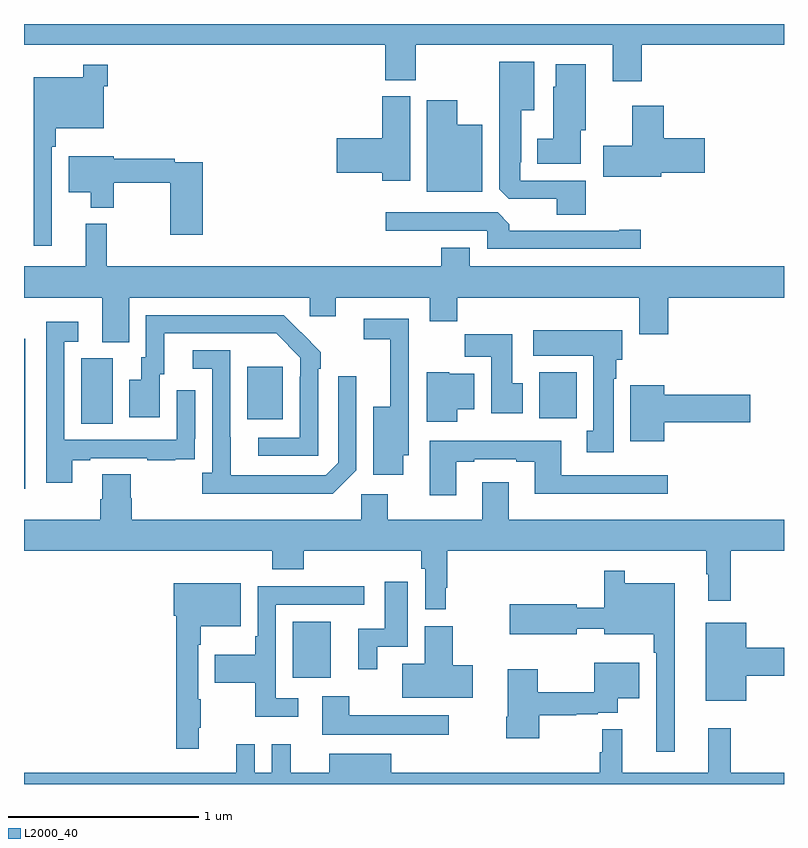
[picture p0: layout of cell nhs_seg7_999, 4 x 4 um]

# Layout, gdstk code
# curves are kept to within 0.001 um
import gdstk
lib = gdstk.Library(unit=1e-6, precision=1e-09)
def R(c, l, rs):  # rectangles x0, y0, x1, y1
    for r in rs: c.add(gdstk.rectangle(r[:2], r[2:], *l))
def P(c, l, *ps):  # polygons
    for p in ps: c.add(gdstk.Polygon(p, *l))
L2000_40 = (2000, 40)

nhs_seg7_999 = lib.new_cell('nhs_seg7_999')
R(nhs_seg7_999, L2000_40, [(184.415,1054.559,184.615,1054.855), (183,1055.553,183.007,1056.344), (183.302,1055.896,183.466,1056.24), (184.175,1055.921,184.363,1056.196), (185.711,1055.924,185.908,1056.166)])
P(nhs_seg7_999, L2000_40, [(183,1057.892),(184.901,1057.892),(184.901,1057.705),(185.061,1057.705),(185.061,1057.892),(186.098,1057.892),(186.098,1057.698),(186.251,1057.698),(186.251,1057.892),(187,1057.892),(187,1058),(183,1058)],
  [(185.957,1057.176),(185.613,1057.176),(185.613,1057.273),(185.617,1057.273),(185.617,1057.547),(185.686,1057.547),(185.686,1057.801),(185.501,1057.801),(185.501,1057.129),(185.55,1057.08),(185.804,1057.08),(185.804,1056.997),(185.957,1056.997)],
  [(185.929,1057.44),(185.956,1057.44),(185.956,1057.789),(185.798,1057.789),(185.798,1057.671),(185.786,1057.671),(185.786,1057.396),(185.702,1057.396),(185.702,1057.265),(185.929,1057.265)],
  [(183.147,1057.355),(183.167,1057.355),(183.167,1057.451),(183.42,1057.451),(183.42,1057.673),(183.44,1057.673),(183.44,1057.786),(183.312,1057.786),(183.312,1057.72),(183.05,1057.72),(183.05,1056.834),(183.147,1056.834)],
  [(185.032,1057.62),(184.886,1057.62),(184.886,1057.4),(184.647,1057.4),(184.647,1057.217),(184.886,1057.217),(184.886,1057.176),(185.032,1057.176)],
  [(185.413,1057.471),(185.281,1057.471),(185.281,1057.6),(185.12,1057.6),(185.12,1057.118),(185.413,1057.118)],
  [(186.355,1057.217),(186.583,1057.217),(186.583,1057.4),(186.368,1057.4),(186.368,1057.57),(186.2,1057.57),(186.2,1057.359),(186.048,1057.359),(186.048,1057.196),(186.355,1057.196)],
  [(183.941,1057.272),(183.794,1057.272),(183.794,1057.292),(183.472,1057.292),(183.472,1057.303),(183.236,1057.303),(183.236,1057.115),(183.35,1057.115),(183.35,1057.034),(183.472,1057.034),(183.472,1057.164),(183.77,1057.164),(183.77,1056.891),(183.941,1056.891)],
  [(186.247,1056.917),(186.134,1056.917),(186.134,1056.912),(185.555,1056.912),(185.555,1056.946),(185.493,1057.008),(184.905,1057.008),(184.905,1056.912),(185.439,1056.912),(185.439,1056.816),(186.247,1056.816)],
  [(185.347,1056.823),(185.195,1056.823),(185.195,1056.724),(183.436,1056.724),(183.436,1056.949),(183.326,1056.949),(183.326,1056.724),(183,1056.724),(183,1056.56),(183.413,1056.56),(183.413,1056.325),(183.553,1056.325),(183.553,1056.56),(184.503,1056.56),(184.503,1056.462),(184.642,1056.462),(184.642,1056.56),(185.135,1056.56),(185.135,1056.436),(185.279,1056.436),(185.279,1056.56),(186.239,1056.56),(186.239,1056.366),(186.392,1056.366),(186.392,1056.56),(187,1056.56),(187,1056.724),(185.347,1056.724)],
  [(184.548,1056.185),(184.563,1056.185),(184.563,1056.273),(184.366,1056.468),(183.642,1056.468),(183.642,1056.246),(183.617,1056.246),(183.617,1056.127),(183.554,1056.127),(183.554,1055.931),(183.715,1055.931),(183.715,1056.156),(183.739,1056.156),(183.739,1056.372),(184.327,1056.372),(184.455,1056.243),(184.455,1056.143),(184.452,1056.143),(184.452,1055.823),(184.233,1055.823),(184.233,1055.727),(184.548,1055.727)],
  [(184.996,1055.729),(185.025,1055.729),(185.025,1056.45),(184.788,1056.45),(184.788,1056.342),(184.928,1056.342),(184.928,1055.986),(184.838,1055.986),(184.838,1055.628),(184.996,1055.628)],
  [(183.253,1055.703),(183.349,1055.703),(183.349,1055.715),(183.649,1055.715),(183.649,1055.703),(183.797,1055.703),(183.797,1055.709),(183.899,1055.709),(183.899,1055.818),(183.9,1055.818),(183.9,1056.073),(183.804,1056.073),(183.804,1055.811),(183.213,1055.811),(183.213,1056.327),(183.286,1056.327),(183.286,1056.433),(183.117,1056.433),(183.117,1055.586),(183.253,1055.586)],
  [(186.103,1056.134),(186.118,1056.134),(186.118,1056.234),(186.148,1056.234),(186.148,1056.388),(185.679,1056.388),(185.679,1056.254),(185.996,1056.254),(185.996,1055.858),(185.963,1055.858),(185.963,1055.745),(186.103,1055.745)],
  [(185.626,1056.108),(185.569,1056.108),(185.569,1056.367),(185.32,1056.367),(185.32,1056.248),(185.459,1056.248),(185.459,1055.952),(185.626,1055.952)],
  [(184.749,1055.651),(184.749,1056.145),(184.653,1056.145),(184.653,1055.691),(184.587,1055.625),(184.087,1055.625),(184.086,1056.282),(183.888,1056.282),(183.888,1056.186),(183.99,1056.186),(183.99,1055.638),(183.939,1055.638),(183.939,1055.528),(184.626,1055.528)],
  [(185.281,1055.972),(185.371,1055.972),(185.371,1056.16),(185.238,1056.16),(185.238,1056.166),(185.12,1056.166),(185.12,1055.907),(185.281,1055.907)],
  [(186.37,1055.903),(186.823,1055.903),(186.823,1056.05),(186.37,1056.05),(186.37,1056.1),(186.191,1056.1),(186.191,1055.804),(186.37,1055.804)],
  [(185.275,1055.697),(185.371,1055.697),(185.371,1055.709),(185.591,1055.709),(185.591,1055.697),(185.687,1055.697),(185.687,1055.528),(186.388,1055.528),(186.388,1055.625),(185.827,1055.625),(185.827,1055.806),(185.135,1055.806),(185.135,1055.52),(185.275,1055.52)],
  [(185.551,1055.587),(185.411,1055.587),(185.411,1055.392),(184.915,1055.392),(184.915,1055.524),(184.776,1055.524),(184.776,1055.392),(183.566,1055.392),(183.566,1055.505),(183.561,1055.505),(183.561,1055.63),(183.413,1055.63),(183.413,1055.498),(183.401,1055.498),(183.401,1055.392),(183,1055.392),(183,1055.228),(184.307,1055.228),(184.307,1055.129),(184.472,1055.129),(184.472,1055.228),(185.092,1055.228),(185.092,1055.132),(185.112,1055.132),(185.112,1054.92),(185.221,1054.92),(185.221,1055.032),(185.228,1055.032),(185.228,1055.228),(186.591,1055.228),(186.591,1055.105),(186.602,1055.105),(186.602,1054.965),(186.719,1054.965),(186.719,1055.228),(187,1055.228),(187,1055.392),(185.551,1055.392)],
  [(186.424,1055.056),(186.163,1055.056),(186.163,1055.122),(186.053,1055.122),(186.053,1054.927),(185.908,1054.927),(185.908,1054.945),(185.556,1054.945),(185.556,1054.787),(185.908,1054.787),(185.908,1054.817),(186.053,1054.817),(186.053,1054.787),(186.315,1054.787),(186.315,1054.691),(186.327,1054.691),(186.327,1054.17),(186.424,1054.17)],
  [(184.858,1054.722),(185.02,1054.722),(185.02,1055.065),(184.898,1055.065),(184.898,1054.818),(184.76,1054.818),(184.76,1054.605),(184.858,1054.605)],
  [(183.92,1054.297),(183.931,1054.297),(183.931,1054.445),(183.918,1054.445),(183.918,1054.733),(183.931,1054.733),(183.931,1054.829),(184.141,1054.829),(184.141,1055.056),(183.788,1055.056),(183.788,1054.886),(183.802,1054.886),(183.802,1054.185),(183.92,1054.185)],
  [(184.444,1054.452),(184.326,1054.452),(184.326,1054.944),(184.792,1054.944),(184.792,1055.042),(184.555,1055.042),(184.555,1055.04),(184.23,1055.04),(184.23,1054.777),(184.218,1054.777),(184.218,1054.681),(184.003,1054.681),(184.003,1054.534),(184.218,1054.534),(184.218,1054.355),(184.444,1054.355)],
  [(186.802,1054.571),(187,1054.571),(187,1054.718),(186.802,1054.718),(186.802,1054.849),(186.587,1054.849),(186.587,1054.439),(186.802,1054.439)],
  [(185.362,1054.625),(185.256,1054.625),(185.256,1054.831),(185.108,1054.831),(185.108,1054.633),(184.991,1054.633),(184.991,1054.454),(185.362,1054.454)],
  [(185.712,1054.362),(185.906,1054.362),(185.906,1054.367),(186.02,1054.367),(186.02,1054.374),(186.124,1054.374),(186.124,1054.451),(186.238,1054.451),(186.238,1054.639),(186.002,1054.639),(186.002,1054.483),(185.704,1054.483),(185.704,1054.603),(185.546,1054.603),(185.546,1054.354),(185.539,1054.354),(185.539,1054.242),(185.712,1054.242)],
  [(185.236,1054.363),(184.711,1054.363),(184.711,1054.462),(184.571,1054.462),(184.571,1054.259),(185.236,1054.259)],
  [(184.933,1054.159),(184.607,1054.159),(184.607,1054.06),(184.403,1054.06),(184.403,1054.21),(184.305,1054.21),(184.305,1054.06),(184.215,1054.06),(184.215,1054.21),(184.118,1054.21),(184.118,1054.06),(183,1054.06),(183,1054),(187,1054),(187,1054.06),(186.719,1054.06),(186.719,1054.294),(186.602,1054.294),(186.602,1054.06),(186.149,1054.06),(186.149,1054.289),(186.043,1054.289),(186.043,1054.167),(186.031,1054.167),(186.031,1054.06),(184.933,1054.06)])

lib.write_gds('nhs_seg7_999.gds')
